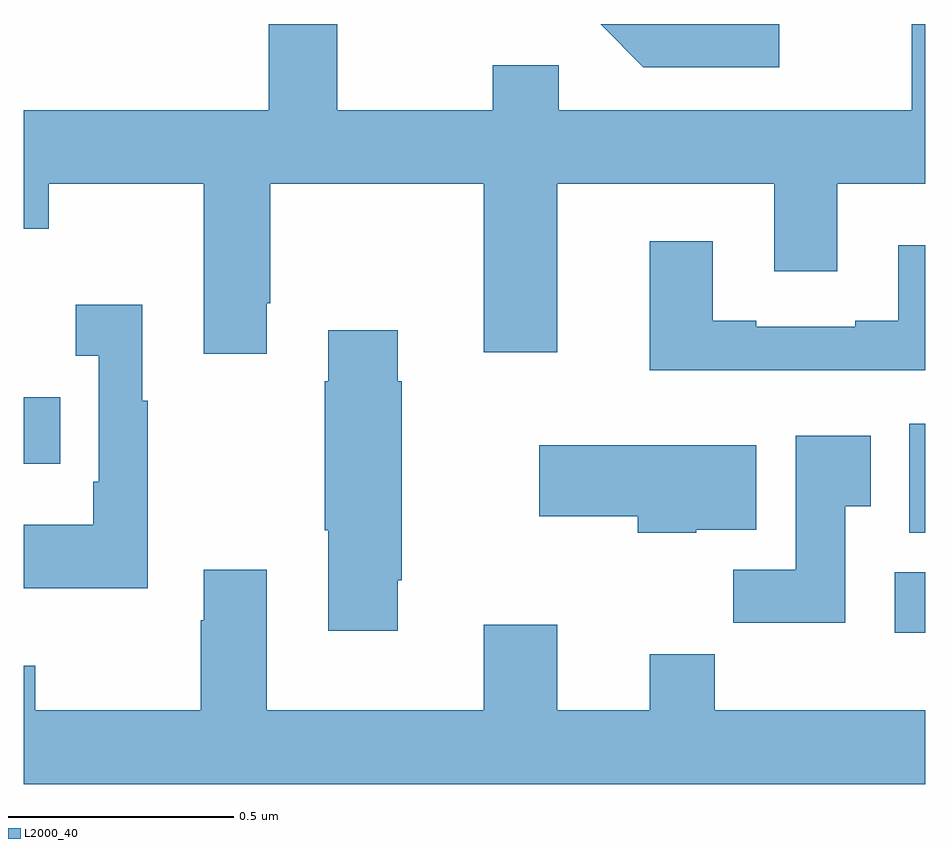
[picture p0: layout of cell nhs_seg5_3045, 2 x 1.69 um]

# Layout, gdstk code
import gdstk
lib = gdstk.Library(unit=1e-6, precision=1e-09)
def R(c, l, rs):  # rectangles x0, y0, x1, y1
    for r in rs: c.add(gdstk.rectangle(r[:2], r[2:], *l))
def P(c, l, *ps):  # polygons
    for p in ps: c.add(gdstk.Polygon(p, *l))
L2000_40 = (2000, 40)

nhs_seg5_3045 = lib.new_cell('nhs_seg5_3045')
R(nhs_seg5_3045, L2000_40, [(153.933,838.448,154,838.582), (153.965,838.67,154,838.912), (152,838.823,152.081,838.971)])
P(nhs_seg5_3045, L2000_40, [(153.676,839.799),(153.28,839.799),(153.375,839.703),(153.676,839.703)],
  [(152.539,839.179),(152.547,839.179),(152.547,839.444),(153.02,839.444),(153.02,839.07),(153.184,839.07),(153.184,839.444),(153.665,839.444),(153.665,839.25),(153.805,839.25),(153.805,839.444),(154,839.444),(154,839.799),(153.971,839.799),(153.971,839.608),(153.187,839.608),(153.187,839.707),(153.04,839.707),(153.04,839.608),(152.695,839.608),(152.695,839.799),(152.543,839.799),(152.543,839.608),(152,839.608),(152,839.345),(152.055,839.345),(152.055,839.444),(152.399,839.444),(152.399,839.067),(152.539,839.067)],
  [(154,839.308),(153.941,839.308),(153.941,839.14),(153.845,839.14),(153.845,839.127),(153.625,839.127),(153.625,839.14),(153.529,839.14),(153.529,839.317),(153.389,839.317),(153.389,839.03),(154,839.03)],
  [(152.275,838.963),(152.263,838.963),(152.263,839.176),(152.115,839.176),(152.115,839.063),(152.166,839.063),(152.166,838.783),(152.154,838.783),(152.154,838.687),(152,838.687),(152,838.547),(152.275,838.547)],
  [(152.83,838.564),(152.838,838.564),(152.838,839.006),(152.83,839.006),(152.83,839.119),(152.675,839.119),(152.675,839.006),(152.668,839.006),(152.668,838.675),(152.675,838.675),(152.675,838.452),(152.83,838.452)],
  [(153.823,838.729),(153.88,838.729),(153.88,838.885),(153.713,838.885),(153.713,838.588),(153.574,838.588),(153.574,838.47),(153.823,838.47)],
  [(153.492,838.676),(153.625,838.676),(153.625,838.864),(153.144,838.864),(153.144,838.706),(153.362,838.706),(153.362,838.67),(153.492,838.67)],
  [(154,838.276),(153.533,838.276),(153.533,838.4),(153.389,838.4),(153.389,838.276),(153.184,838.276),(153.184,838.465),(153.02,838.465),(153.02,838.276),(152.539,838.276),(152.539,838.588),(152.399,838.588),(152.399,838.475),(152.392,838.475),(152.392,838.276),(152.025,838.276),(152.025,838.375),(152,838.375),(152,838.112),(154,838.112)])

lib.write_gds('nhs_seg5_3045.gds')
